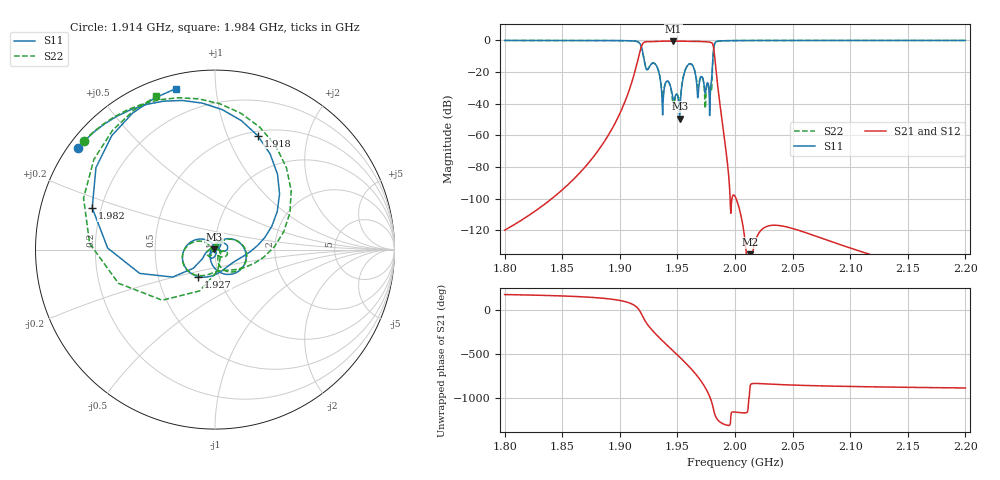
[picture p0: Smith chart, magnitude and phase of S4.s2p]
! Touchstone file exported from HFSS 2023.1.0
!  File:  E:/3.%x6211%x7684%x8BBA%x6587/%x65B0%x6D4B%x8BD5/CoaxialF93.aedt
!  Generated:  9:33:29 %x4E0B%x5348  5%x6708 26, 2023
!  Design:  S4
!  Project:  CoaxialF93
!  Setup:  Setup1
!  Solution:  Sweep
! Variables:
!  Hin1 = 26mm
!  Hout = 29mm
!  L12 = 14.8mm
!  L13 = 14.75mm
!  L23 = 6.95mm
!  L34 = 12.5mm
!  L45 = 7.75mm
!  L46 = 3mm
!  L56 = 8mm
!  L67 = 12.5mm
!  L78 = 8.95mm
!  L79 = 9.78mm
!  L89 = 15.8mm
!  Rin = 5mm
!  Rin2 = 4mm
!  Rout = 15mm
!  Rport = 1.15mm
!  Rport2 = 3mm
!  Rportin = 0.5mm
!  d = 3mm
!  d01 = 2.9mm
!  d02 = 3.52mm
!  d03 = 3.66mm
!  d04 = 3.72mm
!  d05 = 3.735mm
!  d06 = 3.71mm
!  d07 = 3.672mm
!  d08 = 3.534mm
!  d09 = 2.92mm
!  d12 = 18mm
!  d12x = 15.5mm
!  d12y = 25mm
!  d23 = 18mm
!  d34 = 30mm
!  hport = 10.4mm
!  hport2 = 10.4mm
!  lport = 12mm
!  lport2 = 1mm
!  lport_2 = 12mm
!  m = 2mm
!  w12 = 12mm
!  w13 = 10mm
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# GHz S MA R 50.000000
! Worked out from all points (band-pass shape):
!   1001 points, 1.8 GHz to 2.2 GHz, reference 50 ohm
!   highest |S21| = -0.45 dB at 1.946 GHz (marker M1); lowest = -161.7 dB at 2.013 GHz (marker M2)
!   |S21| within 3 dB of the highest: 1.919 GHz to 1.981 GHz (62.18 MHz wide, 3.19 % of centre)
!   lowest |S11| = -49.3 dB at 1.952 GHz (marker M3), VSWR 1.01, Z = 49.7 + j0.057 ohm
!   |S11| at or under -10 dB: 1.921 GHz to 1.981 GHz (60.33 MHz wide, 3.09 % of centre)
!   |S22| runs from -42.8 to 0.0 dB; largest |S21 - S12| = 3.7e-11
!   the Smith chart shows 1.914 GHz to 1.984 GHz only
!   S11 on the Smith chart (normalised r, x): 1.914 GHz: 0.03, +0.33; 1.918 GHz: 0.55, +1.29; 1.927 GHz: 0.80, -0.25; 1.982 GHz: 0.17, +0.16; 1.984 GHz: 0.06, +0.78
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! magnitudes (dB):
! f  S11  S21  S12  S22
! 1.8 GHz  0.0  -119.9  -119.9  0.0
! 1.867 GHz  0.0  -82.4  -82.4  0.0
! 1.894 GHz  -0.1  -54.9  -54.9  -0.1
! 1.914 GHz  -0.4  -18.2  -18.2  -0.5
! 1.918 GHz  -3.4  -4.6  -4.6  -3.5
! 1.923 GHz  -18.3  -0.8  -0.8  -18.2
! 1.927 GHz  -15.1  -0.7  -0.7  -14.9
! 1.934 GHz  -19.3  -0.5  -0.5  -19.1
! 1.937 GHz  -39.7  -0.5  -0.5  -34.3
! 1.942 GHz  -25.7  -0.5  -0.5  -25.8
! 1.946 GHz  -37.3  -0.4  -0.4  -42.0
! 1.952 GHz  -49.3  -0.5  -0.5  -38.7
! 1.96 GHz  -14.8  -0.7  -0.7  -14.8
! 1.978 GHz  -34.1  -1.0  -1.0  -31.7
! 1.982 GHz  -2.8  -7.8  -7.8  -3.1
! 1.984 GHz  -0.7  -22.1  -22.1  -0.8
! 1.993 GHz  -0.1  -76.0  -76.0  -0.2
! 2 GHz  -0.1  -98.5  -98.5  -0.1
! 2.013 GHz  0.0  -161.7  -161.7  0.0
! 2.067 GHz  0.0  -122.8  -122.8  0.0
! 2.134 GHz  0.0  -138.8  -138.8  0.0
! 2.2 GHz  0.0  -151.2  -151.2  0.0
